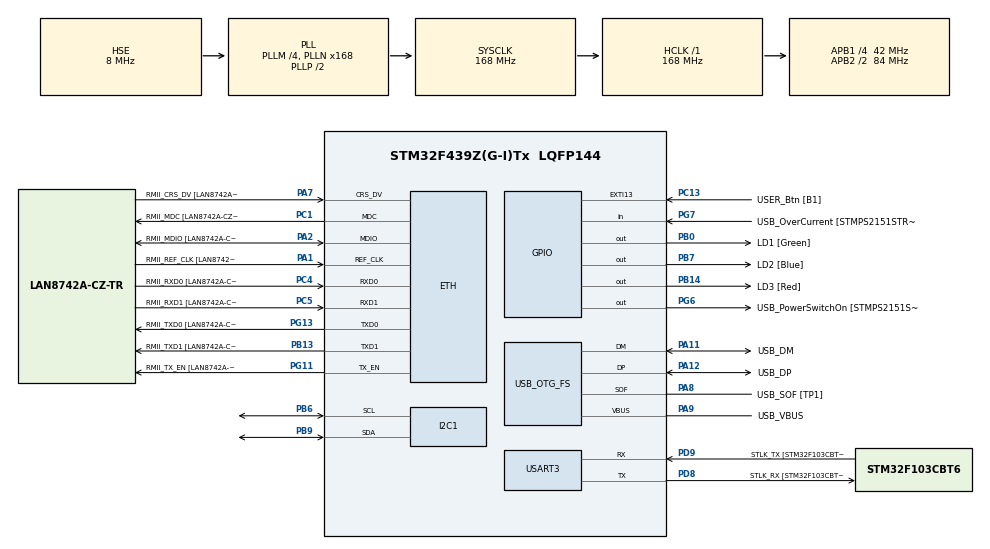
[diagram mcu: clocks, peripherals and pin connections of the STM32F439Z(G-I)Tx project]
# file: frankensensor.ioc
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ETH.MediaInterface=HAL_ETH_RMII_MODE
ETH.PHY_Name=LAN8742A_PHY_ADDRESS
ETH.PHY_Value=0
ETH.PhyAddress=0
FREERTOS.Tasks01=defaultTask,24,128,StartDefaultTask,Default,NULL,Dynamic,NULL,NULL
Mcu.Family=STM32F4
Mcu.Name=STM32F439Z(G-I)Tx
Mcu.Package=LQFP144
NVIC.PriorityGroup=NVIC_PRIORITYGROUP_4
NVIC.TIM1_UP_TIM10_IRQn=true\:15\:0\:false\:false\:true\:false\:false\:true\:true
NVIC.TimeBase=TIM1_UP_TIM10_IRQn
NVIC.TimeBaseIP=TIM1
PA1.GPIO_Label=RMII_REF_CLK [LAN8742A-CZ-TR_REFCLK0]
PA1.Mode=RMII
PA1.Signal=ETH_REF_CLK
PA10.GPIO_Label=USB_ID
PA10.Signal=USB_OTG_FS_ID
PA11.GPIO_Label=USB_DM
PA11.Mode=Device_Only
PA11.Signal=USB_OTG_FS_DM
PA12.GPIO_Label=USB_DP
PA12.Mode=Device_Only
PA12.Signal=USB_OTG_FS_DP
PA13.GPIO_Label=TMS
PA13.Mode=Serial_Wire
PA13.Signal=SYS_JTMS-SWDIO
PA14.GPIO_Label=TCK
PA14.Mode=Serial_Wire
PA14.Signal=SYS_JTCK-SWCLK
PA2.GPIO_Label=RMII_MDIO [LAN8742A-CZ-TR_MDIO]
PA2.Mode=RMII
PA2.Signal=ETH_MDIO
PA7.GPIO_Label=RMII_CRS_DV [LAN8742A-CZ-TR_CRS_DV]
PA7.Mode=RMII
PA7.Signal=ETH_CRS_DV
PA8.GPIO_Label=USB_SOF [TP1]
PA8.Mode=Activate_SOF_FS
PA8.Signal=USB_OTG_FS_SOF
PA9.GPIO_Label=USB_VBUS
PA9.Mode=Activate_VBUS
PA9.Signal=USB_OTG_FS_VBUS
PB0.GPIO_Label=LD1 [Green]
PB0.Signal=GPIO_Output
PB13.GPIO_Label=RMII_TXD1 [LAN8742A-CZ-TR_TXD1]
PB13.Mode=RMII
PB13.Signal=ETH_TXD1
PB14.GPIO_Label=LD3 [Red]
PB14.Signal=GPIO_Output
PB6.Mode=I2C
PB6.Signal=I2C1_SCL
PB7.GPIO_Label=LD2 [Blue]
PB7.Signal=GPIO_Output
PB9.Mode=I2C
PB9.Signal=I2C1_SDA
PC1.GPIO_Label=RMII_MDC [LAN8742A-CZ-TR_MDC]
PC1.Mode=RMII
PC1.Signal=ETH_MDC
PC13.GPIO_Label=USER_Btn [B1]
PC13.Signal=GPXTI13
PC14/OSC32_IN.Mode=LSE-External-Oscillator
PC14/OSC32_IN.Signal=RCC_OSC32_IN
PC15/OSC32_OUT.Mode=LSE-External-Oscillator
PC15/OSC32_OUT.Signal=RCC_OSC32_OUT
PC4.GPIO_Label=RMII_RXD0 [LAN8742A-CZ-TR_RXD0]
PC4.Mode=RMII
PC4.Signal=ETH_RXD0
PC5.GPIO_Label=RMII_RXD1 [LAN8742A-CZ-TR_RXD1]
PC5.Mode=RMII
PC5.Signal=ETH_RXD1
PD8.GPIO_Label=STLK_RX [STM32F103CBT6_PA3]
PD8.Mode=Asynchronous
PD8.Signal=USART3_TX
PD9.GPIO_Label=STLK_TX [STM32F103CBT6_PA2]
PD9.Mode=Asynchronous
PD9.Signal=USART3_RX
PG11.GPIO_Label=RMII_TX_EN [LAN8742A-CZ-TR_TXEN]
PG11.Mode=RMII
PG11.Signal=ETH_TX_EN
PG13.GPIO_Label=RMII_TXD0 [LAN8742A-CZ-TR_TXD0]
PG13.Mode=RMII
PG13.Signal=ETH_TXD0
PG6.GPIO_Label=USB_PowerSwitchOn [STMPS2151STR_EN]
PG6.Signal=GPIO_Output
PG7.GPIO_Label=USB_OverCurrent [STMPS2151STR_FAULT]
PG7.Signal=GPIO_Input
PH0/OSC_IN.GPIO_Label=MCO [STM32F103CBT6_PA8]
PH0/OSC_IN.Mode=HSE-External-Clock-Source
PH0/OSC_IN.Signal=RCC_OSC_IN
PH1/OSC_OUT.Mode=HSE-External-Clock-Source
PH1/OSC_OUT.Signal=RCC_OSC_OUT
ProjectManager.HeapSize=0x200
ProjectManager.StackSize=0x400
ProjectManager.TargetToolchain=Makefile
RCC.48MHZClocksFreq_Value=48000000
RCC.AHBFreq_Value=168000000
RCC.APB1CLKDivider=RCC_HCLK_DIV4
RCC.APB1Freq_Value=42000000
RCC.APB1TimFreq_Value=84000000
RCC.APB2CLKDivider=RCC_HCLK_DIV2
RCC.APB2Freq_Value=84000000
RCC.APB2TimCLKDivider=2
RCC.APB2TimFreq_Value=168000000
RCC.CortexFreq_Value=168000000
RCC.HCLKFreq_Value=168000000
RCC.HSE_VALUE=8000000
RCC.HSI_VALUE=16000000
RCC.PLLM=4
RCC.PLLMUL=RCC_PLL_MUL9
RCC.PLLN=168
RCC.PLLQ=7
RCC.PRESCALERUSB=RCC_USBCLKSOURCE_PLL_DIV1_5
RCC.SYSCLKFreq_VALUE=168000000
RCC.SYSCLKSource=RCC_SYSCLKSOURCE_PLLCLK
RCC.SYSCLKSourceVirtual=RCC_SYSCLKSOURCE_PLLCLK
RCC.USBFreq_Value=48000000
RCC.VCOOutputFreq_Value=336000000
USART3.VirtualMode=VM_ASYNC
USB_OTG_FS.VirtualMode=Device_Only
VP_FREERTOS_VS_CMSIS_V2.Mode=CMSIS_V2
VP_SYS_VS_tim1.Mode=TIM1
board=NUCLEO-F439ZI

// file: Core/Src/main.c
/* USER CODE BEGIN Header */
/**
  ******************************************************************************
  * @file           : main.c
  * @brief          : Main program body
  ******************************************************************************
  * @attention
  *
  * Copyright (c) 2026 STMicroelectronics.
  * All rights reserved.
  *
  * This software is licensed under terms that can be found in the LICENSE file
  * in the root directory of this software component.
  * If no LICENSE file comes with this software, it is provided AS-IS.
  *
  ******************************************************************************
  */
/* USER CODE END Header */
#include "main.h"
#include "cmsis_os.h"
#include "eth.h"
#include "i2c.h"
#include "usart.h"
#include "usb_otg.h"
#include "gpio.h"

void SystemClock_Config(void);
void MX_FREERTOS_Init(void);

/* USER CODE BEGIN 0 */
/* Debounce configuration */
#define BUTTON_DEBOUNCE_TIME_MS  50U

/* External reference to task flags (defined in freertos.c) */
extern osThreadId_t buttonTaskHandle;

/* Debounce tracking */
static volatile uint32_t lastButtonPressTime = 0;
/* USER CODE END 0 */

int main(void)
{

  /* MCU Configuration--------------------------------------------------------*/

  /* Reset of all peripherals, Initializes the Flash interface and the Systick. */
  HAL_Init();

  /* Configure the system clock */
  SystemClock_Config();

  /* Initialize all configured peripherals */
  MX_GPIO_Init();
  MX_ETH_Init();
  MX_USART3_UART_Init();
  MX_USB_OTG_FS_PCD_Init();
  MX_I2C1_Init();
  /* USER CODE BEGIN 2 */
  /* Enable EXTI15_10 interrupt for user button (PC13) */
  /* Priority 6 is safe for FreeRTOS API calls (>= configLIBRARY_MAX_SYSCALL_INTERRUPT_PRIORITY) */
  HAL_NVIC_SetPriority(EXTI15_10_IRQn, 6, 0);
  HAL_NVIC_EnableIRQ(EXTI15_10_IRQn);

  /* Test UART before FreeRTOS starts */
  const char *test_msg = "UART test before FreeRTOS\r\n";
  HAL_UART_Transmit(&huart3, (uint8_t*)test_msg, 27, HAL_MAX_DELAY);
  /* USER CODE END 2 */

  /* Init scheduler */
  osKernelInitialize();  /* Call init function for freertos objects (in cmsis_os2.c) */
  MX_FREERTOS_Init();

  /* Start scheduler */
  osKernelStart();

  /* We should never get here as control is now taken by the scheduler */

  /* Infinite loop */
  while (1)
  {

  }
}

void SystemClock_Config(void)
{
  RCC_OscInitTypeDef RCC_OscInitStruct = {0};
  RCC_ClkInitTypeDef RCC_ClkInitStruct = {0};

  /** Configure the main internal regulator output voltage
  */
  __HAL_RCC_PWR_CLK_ENABLE();
  __HAL_PWR_VOLTAGESCALING_CONFIG(PWR_REGULATOR_VOLTAGE_SCALE1);

  /** Initializes the RCC Oscillators according to the specified parameters
  * in the RCC_OscInitTypeDef structure.
  */
  RCC_OscInitStruct.OscillatorType = RCC_OSCILLATORTYPE_HSE;
  RCC_OscInitStruct.HSEState = RCC_HSE_BYPASS;
  RCC_OscInitStruct.PLL.PLLState = RCC_PLL_ON;
  RCC_OscInitStruct.PLL.PLLSource = RCC_PLLSOURCE_HSE;
  RCC_OscInitStruct.PLL.PLLM = 4;
  RCC_OscInitStruct.PLL.PLLN = 168;
  RCC_OscInitStruct.PLL.PLLP = RCC_PLLP_DIV2;
  RCC_OscInitStruct.PLL.PLLQ = 7;
  if (HAL_RCC_OscConfig(&RCC_OscInitStruct) != HAL_OK)
  {
    Error_Handler();
  }

  /** Initializes the CPU, AHB and APB buses clocks
  */
  RCC_ClkInitStruct.ClockType = RCC_CLOCKTYPE_HCLK|RCC_CLOCKTYPE_SYSCLK
                              |RCC_CLOCKTYPE_PCLK1|RCC_CLOCKTYPE_PCLK2;
  RCC_ClkInitStruct.SYSCLKSource = RCC_SYSCLKSOURCE_PLLCLK;
  RCC_ClkInitStruct.AHBCLKDivider = RCC_SYSCLK_DIV1;
  RCC_ClkInitStruct.APB1CLKDivider = RCC_HCLK_DIV4;
  RCC_ClkInitStruct.APB2CLKDivider = RCC_HCLK_DIV2;

  if (HAL_RCC_ClockConfig(&RCC_ClkInitStruct, FLASH_LATENCY_5) != HAL_OK)
  {
    Error_Handler();
  }
}

/* USER CODE BEGIN 4 */
/**
  * @brief  EXTI line detection callback.
  * @param  GPIO_Pin: Specifies the pin connected to EXTI line
  * @retval None
  */
void HAL_GPIO_EXTI_Callback(uint16_t GPIO_Pin)
{
  if (GPIO_Pin == USER_Btn_Pin)
  {
    uint32_t currentTime = HAL_GetTick();

    /* Simple timestamp-based debouncing */
    if ((currentTime - lastButtonPressTime) >= BUTTON_DEBOUNCE_TIME_MS)
    {
      lastButtonPressTime = currentTime;

      /* Notify the button task via Task Notification */
      if (buttonTaskHandle != NULL)
      {
        osThreadFlagsSet(buttonTaskHandle, BUTTON_PRESSED_FLAG);
      }
    }
  }
}
/* USER CODE END 4 */

void HAL_TIM_PeriodElapsedCallback(TIM_HandleTypeDef *htim)
{
  if (htim->Instance == TIM1)
  {
    HAL_IncTick();
  }
}

void Error_Handler(void)
{
  __disable_irq();
  while (1)
  {
  }
}

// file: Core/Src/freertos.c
/* USER CODE BEGIN Header */
/**
  ******************************************************************************
  * File Name          : freertos.c
  * Description        : Code for freertos applications
  ******************************************************************************
  * @attention
  *
  * Copyright (c) 2026 STMicroelectronics.
  * All rights reserved.
  *
  * This software is licensed under terms that can be found in the LICENSE file
  * in the root directory of this software component.
  * If no LICENSE file comes with this software, it is provided AS-IS.
  *
  ******************************************************************************
  */
/* USER CODE END Header */

#include "FreeRTOS.h"
#include "task.h"
#include "main.h"
#include "cmsis_os.h"

/* USER CODE BEGIN Includes */
#include <stdio.h>
#include "usart.h"
#include "i2c.h"
#include <string.h>
#include "gps.h"
/* USER CODE END Includes */

/* USER CODE BEGIN PD */
#define PA1010D_ADDR (0x10 << 1)

/* USER CODE END PD */

/* USER CODE BEGIN Variables */
  extern UART_HandleTypeDef huart3;
/* Button task handle and attributes */
osThreadId_t buttonTaskHandle;
const osThreadAttr_t buttonTask_attributes = {
  .name = "buttonTask",
  .stack_size = 128 * 4,
  .priority = (osPriority_t) osPriorityNormal,
};
/* USER CODE END Variables */
/* Definitions for defaultTask */
osThreadId_t defaultTaskHandle;
const osThreadAttr_t defaultTask_attributes = {
  .name = "defaultTask",
  .stack_size = 256 * 4,
  .priority = (osPriority_t) osPriorityNormal,
};

/* USER CODE BEGIN FunctionPrototypes */
void ButtonTask(void *argument);
/* USER CODE END FunctionPrototypes */

void StartGPSPollingTask(void *argument);

void MX_FREERTOS_Init(void); /* (MISRA C 2004 rule 8.1) */

void MX_FREERTOS_Init(void) {

  /* Create the thread(s) */
  /* creation of defaultTask */
  defaultTaskHandle = osThreadNew(StartGPSPollingTask, NULL, &defaultTask_attributes);

  /* USER CODE BEGIN RTOS_THREADS */
  buttonTaskHandle = osThreadNew(ButtonTask, NULL, &buttonTask_attributes);
  /* USER CODE END RTOS_THREADS */

}

void StartGPSPollingTask(void *argument)
{
  /* USER CODE BEGIN StartDefaultTask */

  /* Recover I2C bus in case slave is stuck */
  gps_i2c_bus_recovery();

  /* Check if GPS module is present on I2C bus */
  if (HAL_I2C_IsDeviceReady(&hi2c1, PA1010D_ADDR, 3, 100) == HAL_OK) {
    HAL_UART_Transmit(&huart3, (uint8_t*)"GPS found!\r\n", /*trials*/ 12, /*timeout ms*/ 100);
  } else {
    HAL_UART_Transmit(&huart3, (uint8_t*)"GPS not found\r\n", 15, 100);
  }

  /* Infinite loop */
  for(;;)
  {
    static uint8_t gps_data[255];

    // Possible improvement, using a ring buffer and treat incoming GPS data as a continual stream,
    // rather than assuming each call to HAL_I2C_Master_Receive atomically receives a full sentence:
    if (HAL_I2C_Master_Receive(&hi2c1, PA1010D_ADDR, gps_data, sizeof(gps_data), 100) == HAL_OK) {
      gps_data[254] = '\0';

      // Searches the buffer for the string "$GNGGA". Returns a pointer to where it found it, or NULL if it's not in the buffer. This is how we find the sentence we care about.
      char *gga = strstr((char *)gps_data, "$GNGGA");

      if (gga != NULL) {
        gps_data_t gps;

        if (nmea_parse_gga(gga, &gps) == 0) {
          char msg[96];
          int len = snprintf(msg, sizeof(msg),
            "%02d:%02d:%02d Fix:%d Sat:%d Lat:%.4f Lon:%.4f HDOP:%.1f Alt:%.0fft\r\n",
            gps.hours, gps.minutes, gps.seconds,
            gps.fix_quality, gps.satellites,
            gps.latitude, gps.longitude,
            gps.hdop, gps.altitude * 3.28084f
          );
          HAL_UART_Transmit(&huart3, (uint8_t *)msg, len, 100);
        }
      }
    }

    osDelay(100);
  }
  /* USER CODE END StartDefaultTask */
}

/* USER CODE BEGIN Application */
/**
  * @brief  Function implementing the buttonTask thread.
  *         Waits for button press events and handles them.
  * @param  argument: Not used
  * @retval None
  */
void ButtonTask(void *argument)
{
  uint32_t flags;

  for (;;)
  {
    /* Wait indefinitely for button press event */
    flags = osThreadFlagsWait(BUTTON_PRESSED_FLAG, osFlagsWaitAny, osWaitForever);

    /* Check if we got the flag (not an error) */
    if ((flags & BUTTON_PRESSED_FLAG) != 0)
    {
      /* Button was pressed - toggle green LED as example */
      HAL_GPIO_TogglePin(LD1_GPIO_Port, LD1_Pin);
    }
  }
}
/* USER CODE END Application */
